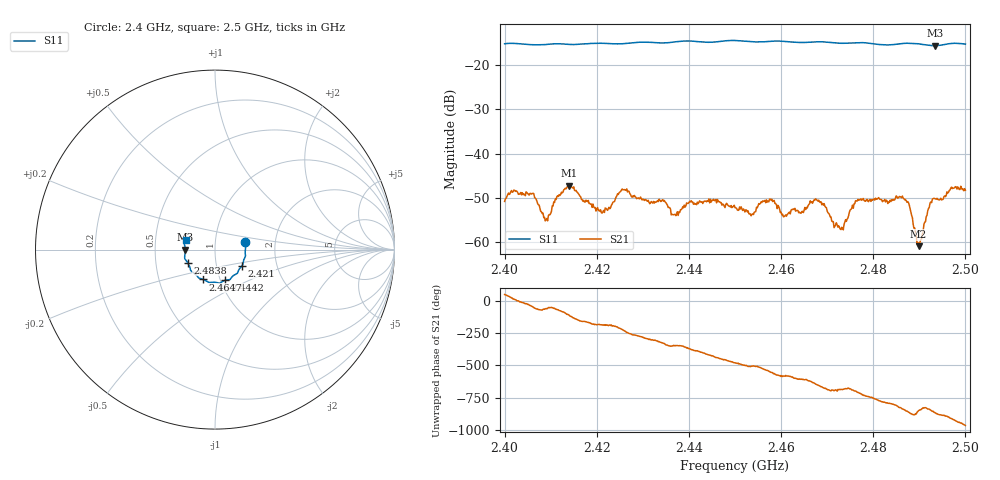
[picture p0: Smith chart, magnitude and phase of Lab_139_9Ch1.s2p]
# Hz S RI R 50
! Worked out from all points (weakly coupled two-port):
!   601 points, 2.4 GHz to 2.5 GHz, reference 50 ohm
!   highest |S21| = -47.21 dB at 2.414 GHz (marker M1); lowest = -60.9 dB at 2.4898 GHz (marker M2)
!   lowest |S11| = -15.6 dB at 2.4933 GHz (marker M3), VSWR 1.40, Z = 35.8 + j0.0215 ohm
!   |S11| at or under -10 dB: start of sweep to end of sweep
!   S12 and S22 are empty: the file has one direction only
!   S11 on the Smith chart (normalised r, x): 2.4 GHz: 1.40, +0.12; 2.421 GHz: 1.33, -0.24; 2.4442 GHz: 1.05, -0.37; 2.4647 GHz: 0.83, -0.28; 2.4838 GHz: 0.73, -0.11; 2.5 GHz: 0.71, +0.08
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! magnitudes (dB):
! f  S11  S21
! 2.4 GHz  -15.2  -50.8
! 2.406 GHz  -15.4  -49.0
! 2.409 GHz  -15.4  -54.9
! 2.414 GHz  -15.4  -47.2
! 2.4167 GHz  -15.3  -50.3
! 2.421 GHz  -15.1  -53.3
! 2.426 GHz  -15.2  -48.1
! 2.4333 GHz  -15.0  -50.8
! 2.4367 GHz  -14.8  -53.8
! 2.4442 GHz  -14.9  -50.8
! 2.45 GHz  -14.5  -52.2
! 2.458 GHz  -14.6  -50.3
! 2.4647 GHz  -14.9  -53.0
! 2.4667 GHz  -14.8  -50.9
! 2.473 GHz  -15.1  -57.2
! 2.4767 GHz  -15.0  -50.3
! 2.4833 GHz  -15.5  -50.9
! 2.4838 GHz  -15.4  -50.8
! 2.4873 GHz  -15.1  -51.0
! 2.4898 GHz  -15.2  -60.9
! 2.4933 GHz  -15.6  -50.1
! 2.5 GHz  -15.3  -48.3
